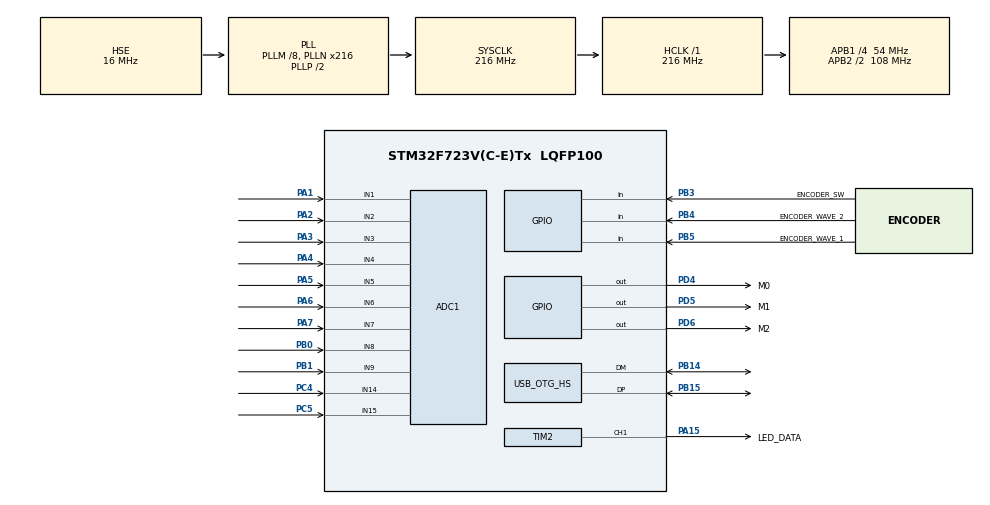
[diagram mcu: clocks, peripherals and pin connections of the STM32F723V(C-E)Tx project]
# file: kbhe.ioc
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ADC1.Channel-0\#ChannelRegularConversion=ADC_CHANNEL_1
ADC1.Channel-1\#ChannelRegularConversion=ADC_CHANNEL_2
ADC1.Channel-10\#ChannelRegularConversion=ADC_CHANNEL_15
ADC1.Channel-2\#ChannelRegularConversion=ADC_CHANNEL_3
ADC1.Channel-3\#ChannelRegularConversion=ADC_CHANNEL_4
ADC1.Channel-4\#ChannelRegularConversion=ADC_CHANNEL_5
ADC1.Channel-5\#ChannelRegularConversion=ADC_CHANNEL_6
ADC1.Channel-6\#ChannelRegularConversion=ADC_CHANNEL_7
ADC1.Channel-7\#ChannelRegularConversion=ADC_CHANNEL_8
ADC1.Channel-8\#ChannelRegularConversion=ADC_CHANNEL_9
ADC1.Channel-9\#ChannelRegularConversion=ADC_CHANNEL_14
ADC1.ContinuousConvMode=DISABLE
ADC1.DMAContinuousRequests=ENABLE
ADC1.EOCSelection=ADC_EOC_SINGLE_CONV
ADC1.ExternalTrigConv=ADC_EXTERNALTRIGCONV_T4_TRGO
ADC1.NbrOfConversion=11
ADC1.NbrOfConversionFlag=1
ADC1.Rank-0\#ChannelRegularConversion=1
ADC1.Rank-1\#ChannelRegularConversion=2
ADC1.Rank-10\#ChannelRegularConversion=11
ADC1.Rank-2\#ChannelRegularConversion=3
ADC1.Rank-3\#ChannelRegularConversion=4
ADC1.Rank-4\#ChannelRegularConversion=5
ADC1.Rank-5\#ChannelRegularConversion=6
ADC1.Rank-6\#ChannelRegularConversion=7
ADC1.Rank-7\#ChannelRegularConversion=8
ADC1.Rank-8\#ChannelRegularConversion=9
ADC1.Rank-9\#ChannelRegularConversion=10
ADC1.SamplingTime-0\#ChannelRegularConversion=ADC_SAMPLETIME_3CYCLES
ADC1.SamplingTime-1\#ChannelRegularConversion=ADC_SAMPLETIME_3CYCLES
ADC1.SamplingTime-10\#ChannelRegularConversion=ADC_SAMPLETIME_3CYCLES
ADC1.SamplingTime-2\#ChannelRegularConversion=ADC_SAMPLETIME_3CYCLES
ADC1.SamplingTime-3\#ChannelRegularConversion=ADC_SAMPLETIME_3CYCLES
ADC1.SamplingTime-4\#ChannelRegularConversion=ADC_SAMPLETIME_3CYCLES
ADC1.SamplingTime-5\#ChannelRegularConversion=ADC_SAMPLETIME_3CYCLES
ADC1.SamplingTime-6\#ChannelRegularConversion=ADC_SAMPLETIME_3CYCLES
ADC1.SamplingTime-7\#ChannelRegularConversion=ADC_SAMPLETIME_3CYCLES
ADC1.SamplingTime-8\#ChannelRegularConversion=ADC_SAMPLETIME_3CYCLES
ADC1.SamplingTime-9\#ChannelRegularConversion=ADC_SAMPLETIME_3CYCLES
ADC1.ScanConvMode=ADC_SCAN_ENABLE
ADC1.master=1
CORTEX_M7.ART_ACCELERATOR_ENABLE=1
CORTEX_M7.AccessPermission_S-Cortex_Memory_Protection_Unit_Region1_Settings_S=MPU_REGION_FULL_ACCESS
CORTEX_M7.AccessPermission_Spec=MPU_REGION_FULL_ACCESS
CORTEX_M7.BaseAddress_Spec=0x20000000
CORTEX_M7.CPU_DCache=Enabled
CORTEX_M7.CPU_ICache=Enabled
CORTEX_M7.DisableExec_Spec=MPU_INSTRUCTION_ACCESS_ENABLE
CORTEX_M7.Enable_S-Cortex_Memory_Protection_Unit_Region1_Settings_S=MPU_REGION_ENABLE
CORTEX_M7.IsShareable_S-Cortex_Memory_Protection_Unit_Region1_Settings_S=MPU_ACCESS_SHAREABLE
CORTEX_M7.MPU_Control=MPU_PRIVILEGED_DEFAULT
CORTEX_M7.PREFETCH_ENABLE=1
CORTEX_M7.Size_S-Cortex_Memory_Protection_Unit_Region1_Settings_S=MPU_REGION_SIZE_128B
CORTEX_M7.Size_Spec=MPU_REGION_SIZE_256B
CORTEX_M7.SubRegionDisable_Spec=0x00
CORTEX_M7.default_mode_Activation=1
Dma.ADC1.0.Direction=DMA_PERIPH_TO_MEMORY
Dma.ADC1.0.FIFOMode=DMA_FIFOMODE_DISABLE
Dma.ADC1.0.Instance=DMA2_Stream0
Dma.ADC1.0.MemDataAlignment=DMA_MDATAALIGN_HALFWORD
Dma.ADC1.0.MemInc=DMA_MINC_ENABLE
Dma.ADC1.0.Mode=DMA_CIRCULAR
Dma.ADC1.0.PeriphDataAlignment=DMA_PDATAALIGN_HALFWORD
Dma.ADC1.0.PeriphInc=DMA_PINC_DISABLE
Dma.ADC1.0.Priority=DMA_PRIORITY_HIGH
Dma.Request0=ADC1
Dma.Request1=TIM2_CH1
Dma.TIM2_CH1.1.Direction=DMA_MEMORY_TO_PERIPH
Dma.TIM2_CH1.1.FIFOMode=DMA_FIFOMODE_DISABLE
Dma.TIM2_CH1.1.Instance=DMA1_Stream5
Dma.TIM2_CH1.1.MemDataAlignment=DMA_MDATAALIGN_WORD
Dma.TIM2_CH1.1.MemInc=DMA_MINC_ENABLE
Dma.TIM2_CH1.1.Mode=DMA_CIRCULAR
Dma.TIM2_CH1.1.PeriphDataAlignment=DMA_PDATAALIGN_WORD
Dma.TIM2_CH1.1.PeriphInc=DMA_PINC_DISABLE
Dma.TIM2_CH1.1.Priority=DMA_PRIORITY_VERY_HIGH
Mcu.Family=STM32F7
Mcu.Name=STM32F723V(C-E)Tx
Mcu.Package=LQFP100
NVIC.ADC_IRQn=true\:0\:0\:false\:false\:true\:true\:true\:true
NVIC.DMA1_Stream5_IRQn=true\:0\:0\:false\:false\:true\:false\:true\:true
NVIC.DMA2_Stream0_IRQn=true\:0\:0\:false\:false\:true\:false\:true\:true
NVIC.OTG_HS_IRQn=true\:0\:0\:false\:false\:true\:true\:true\:true
NVIC.PriorityGroup=NVIC_PRIORITYGROUP_4
PA1.Signal=ADCx_IN1
PA13.Mode=Serial_Wire
PA13.Signal=SYS_JTMS-SWDIO
PA14.Mode=Serial_Wire
PA14.Signal=SYS_JTCK-SWCLK
PA15.GPIO_Label=LED_DATA
PA15.GPIO_Speed=GPIO_SPEED_FREQ_VERY_HIGH
PA15.Signal=S_TIM2_CH1
PA2.Signal=ADCx_IN2
PA3.Signal=ADCx_IN3
PA4.Signal=ADCx_IN4
PA5.Signal=ADCx_IN5
PA6.Signal=ADCx_IN6
PA7.Signal=ADCx_IN7
PB0.Signal=ADCx_IN8
PB1.Signal=ADCx_IN9
PB3.GPIO_Label=ENCODER_SW
PB3.GPIO_PuPd=GPIO_PULLUP
PB3.GPIO_Speed=GPIO_SPEED_FREQ_LOW
PB3.Signal=GPIO_Input
PB4.GPIO_Label=ENCODER_WAVE_2
PB4.GPIO_PuPd=GPIO_PULLUP
PB4.GPIO_Speed=GPIO_SPEED_FREQ_LOW
PB4.Signal=GPIO_Input
PB5.GPIO_Label=ENCODER_WAVE_1
PB5.GPIO_PuPd=GPIO_PULLUP
PB5.GPIO_Speed=GPIO_SPEED_FREQ_LOW
PB5.Signal=GPIO_Input
PB14.Mode=Internal_Phy_Device
PB14.Signal=USB_OTG_HS_DM
PB15.Mode=Internal_Phy_Device
PB15.Signal=USB_OTG_HS_DP
PC4.Signal=ADCx_IN14
PC5.Signal=ADCx_IN15
PD4.GPIO_Label=M0
PD4.GPIO_Speed=GPIO_SPEED_FREQ_VERY_HIGH
PD4.Signal=GPIO_Output
PD5.GPIO_Label=M1
PD5.GPIO_Speed=GPIO_SPEED_FREQ_VERY_HIGH
PD5.Signal=GPIO_Output
PD6.GPIO_Label=M2
PD6.GPIO_Speed=GPIO_SPEED_FREQ_VERY_HIGH
PD6.Signal=GPIO_Output
PH0-OSC_IN.Mode=HSE-External-Oscillator
PH0-OSC_IN.Signal=RCC_OSC_IN
PH1-OSC_OUT.Mode=HSE-External-Oscillator
PH1-OSC_OUT.Signal=RCC_OSC_OUT
ProjectManager.HeapSize=0x200
ProjectManager.StackSize=0x400
ProjectManager.TargetToolchain=CMake
RCC.AHBFreq_Value=216000000
RCC.APB1CLKDivider=RCC_HCLK_DIV4
RCC.APB1Freq_Value=54000000
RCC.APB1TimFreq_Value=108000000
RCC.APB2CLKDivider=RCC_HCLK_DIV2
RCC.APB2Freq_Value=108000000
RCC.APB2TimFreq_Value=216000000
RCC.CortexFreq_Value=216000000
RCC.HCLKFreq_Value=216000000
RCC.HSE_VALUE=16000000
RCC.HSI_VALUE=16000000
RCC.LSE_VALUE=32768
RCC.PLLM=8
RCC.PLLN=216
RCC.PLLQ=9
RCC.SYSCLKFreq_VALUE=216000000
RCC.SYSCLKSource=RCC_SYSCLKSOURCE_PLLCLK
RCC.USBFreq_Value=48000000
RCC.VCOOutputFreq_Value=432000000
REXTPHYHS.Mode=Internal_Phy_Device
REXTPHYHS.Signal=USB_OTG_HS_REXTPHYHS
SH.ADCx_IN1.0=ADC1_IN1,IN1
SH.ADCx_IN14.0=ADC1_IN14,IN14
SH.ADCx_IN15.0=ADC1_IN15,IN15
SH.ADCx_IN2.0=ADC1_IN2,IN2
SH.ADCx_IN3.0=ADC1_IN3,IN3
SH.ADCx_IN4.0=ADC1_IN4,IN4
SH.ADCx_IN5.0=ADC1_IN5,IN5
SH.ADCx_IN6.0=ADC1_IN6,IN6
SH.ADCx_IN7.0=ADC1_IN7,IN7
SH.ADCx_IN8.0=ADC1_IN8,IN8
SH.ADCx_IN9.0=ADC1_IN9,IN9
SH.S_TIM2_CH1.0=TIM2_CH1,PWM Generation1 CH1
TIM2.AutoReloadPreload=TIM_AUTORELOAD_PRELOAD_ENABLE
TIM2.Channel-PWM\ Generation1\ CH1=TIM_CHANNEL_1
TIM2.Period=134
TIM4.AutoReloadPreload=TIM_AUTORELOAD_PRELOAD_ENABLE
TIM4.Period=53
TIM4.Prescaler=0
TIM4.TIM_MasterOutputTrigger=TIM_TRGO_UPDATE
USB_OTG_HS.VirtualMode=Int_Phy_Device
VP_TIM2_VS_ClockSourceINT.Mode=Internal
VP_TIM4_VS_ClockSourceINT.Mode=Internal
VP_TIM4_VS_OPM.Mode=OPM_bit
board=custom

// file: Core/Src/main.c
/* USER CODE BEGIN Header */
/**
 ******************************************************************************
 * @file           : main.c
 * @brief          : Main program body
 ******************************************************************************
 * @attention
 *
 * Copyright (c) 2025 STMicroelectronics.
 * All rights reserved.
 *
 * This software is licensed under terms that can be found in the LICENSE file
 * in the root directory of this software component.
 * If no LICENSE file comes with this software, it is provided AS-IS.
 *
 ******************************************************************************
 */
/* USER CODE END Header */
#include "main.h"

/* USER CODE BEGIN Includes */
#include "analog/multiplexer.h"
#include "analog/lut.h"
#include "analog/analog.h"
#include "analog/filter.h"
#include "analog/calibration.h"
#include "analog/internal_sensor_sampler.h"
#include "analog/scan_watchdog.h"
#include "diagnostics.h"
#include "realtime_scan_policy.h"

#include "settings.h"
#include "profile_document_store.h"
#include "flash_storage.h"

#include "stm32f7xx_hal_gpio.h"
#include "trigger/trigger.h"
#include "trigger/socd.h"

#include "adc_capture.h"
#include "action_engine.h"
// #include "adc_ema.h"
#include "led_indicator.h"
#include "led_matrix.h"
#include "hid/raw_hid.h"
#include "stm32f7xx_hal_adc.h"
// #include "trigger.h"
#include "tusb.h"
#include "updater_app.h"
#include "hid/gamepad_hid.h"
#include "hid/xinput_usb.h"
#include "usb_descriptors.h"
#include "hid/consumer_hid.h"
#include "hid/keyboard_hid.h"
#include "hid/keyboard_nkro_hid.h"
#include "hid/mouse_hid.h"
#include "rotary_encoder.h"
#include "stm32f7xx_ll_adc.h"
#include "ws2812.h" // Include WS2812 header
#include <stdbool.h>
#include <stdint.h>
#include <stdio.h>
#include <sys/cdefs.h>

/* USER CODE END Includes */

/* USER CODE BEGIN PD */
#define KBHE_TIMING_PROFILE_DECIMATION 32u
#define MCU_LED_THERMAL_LIMIT_C 70
#define MCU_LED_THERMAL_HYSTERESIS_C 3
#define MCU_LED_THERMAL_BRIGHTNESS_MAX 96u
/* A write becomes eligible only after input and macro traffic have drained.
 * The STM32F723 has one Flash bank, so even one word can stall instruction
 * fetch. Keeping the write out of this guard window is more important than
 * completing persistence while a key remains held. */
#define KBHE_PERSISTENCE_INPUT_QUIET_MS 4u

/* USER CODE END PD */

ADC_HandleTypeDef hadc1;
DMA_HandleTypeDef hdma_adc1;

TIM_HandleTypeDef htim2;
TIM_HandleTypeDef htim4;
DMA_HandleTypeDef hdma_tim2_ch1;

PCD_HandleTypeDef hpcd_USB_OTG_HS;

/* USER CODE BEGIN PV */
// /**
//  * ADC DMA NUMBER OF CONVERSIONS COMPLETED
//  */
// uint32_t num_conv = 0;

/**
 * LED DMA BUFFER
 */
uint32_t ws2812_dma_buffer[BUFFER_SIZE * 2] __attribute__((aligned(256)));

/**
 * EMA FILTERING - Default values (can be overridden via settings)
 */
// #define ADC_EMA_NOISE_BAND_DEFAULT 30u
// #define ADC_EMA_ALPHA_MIN_DENOM_DEFAULT 32u
// #define ADC_EMA_ALPHA_MAX_DENOM_DEFAULT 4u

// // Runtime filter parameters
// static uint8_t filter_enabled = 1;
// static uint8_t filter_noise_band = ADC_EMA_NOISE_BAND_DEFAULT;
// static uint8_t filter_alpha_min_denom = ADC_EMA_ALPHA_MIN_DENOM_DEFAULT;
// static uint8_t filter_alpha_max_denom = ADC_EMA_ALPHA_MAX_DENOM_DEFAULT;

// /**
//  * MUX CONFIGURATION
//  */
// /**
//  * NUMBER OF CHANNELS PER MUX AND NUMBER OF MULTIPLEXERS
//  */
// #define NUM_MUX_CHANNELS 13
// #define NUM_MUX 8

// /**
//  * CURRENT MUX CHANNEL
//  */
// uint16_t mux_channel = 0;

/**
 * ADC DMA BUFFER
 */
// Déclarer un buffer de 128 valeurs de type uint16_t (2 octets chacune) soit
// 256 octets
// #define ADC_BUFFER_LENGTH 128
// uint16_t adc_buffer[ADC_BUFFER_LENGTH]
//     __attribute__((aligned(ADC_BUFFER_LENGTH * 2)));

// /**
//  * ADC VALUES FOR ALL MUX CHANNELS
//  * Format: [MUX0_CH0, MUX0_CH1, ..., MUX0_CH5, MUX1_CH0, ..., MUX1_CH5]
//  */
// uint16_t adc_values[NUM_MUX * NUM_MUX_CHANNELS];

/**
 * EMA state per logical channel (mux input i, mux_channel).
 */
// static adc_ema_t adc_ema_states[NUM_MUX * NUM_MUX_CHANNELS];

// /**
//  * OVERSAMPLING
//  */

// #define SAMPLE_COUNT 1

// uint16_t adc_samples_index = 0;
// uint16_t adc_samples[NUM_MUX * SAMPLE_COUNT];

/**
 * Timings measurement variables
 */
// Temps entre deux scans complets (incluant loop principale)
uint32_t adc_full_cycle_us = 0;
uint32_t adc_full_cycle_start_cycles = 0;

// Time spent in each processing task after a full ADC scan.
uint32_t task_analog_us = 0;
uint32_t task_trigger_us = 0;
uint32_t task_socd_us = 0;
uint32_t task_keyboard_us = 0;
uint32_t task_keyboard_nkro_us = 0;
uint32_t task_gamepad_us = 0;
uint32_t task_led_us = 0;
uint32_t task_total_us = 0;
uint32_t mcu_scan_cycle_us_live = 0;
uint32_t mcu_scan_cycle_us_max = 0;
uint32_t mcu_scan_deadline_miss_count = 0;
uint32_t mcu_adc_recovery_count = 0;
#define MCU_SCAN_HISTOGRAM_BIN_US 4u
#define MCU_SCAN_HISTOGRAM_BIN_COUNT 256u
static uint64_t mcu_scan_cycle_histogram[MCU_SCAN_HISTOGRAM_BIN_COUNT];
static uint64_t mcu_scan_cycle_sample_count = 0u;
uint32_t mcu_work_us_live = 0;
uint16_t mcu_load_permille_live = 0;
int16_t mcu_temperature_c_live = 0;
uint16_t mcu_vref_mv_live = 0;
uint8_t mcu_temperature_valid_live = 0;
static uint8_t timing_profile_counter = 0u;
static uint32_t mcu_metrics_next_sample_ms = 0u;
static adc_internal_sensor_sampler_t mcu_internal_sensor_sampler;
static bool mcu_led_thermal_limit_active = false;
static uint8_t mcu_led_last_applied_brightness = 0xFFu;

//--------------------------------------------------------------------+
// Filter Management Functions
//--------------------------------------------------------------------+

// /**
//  * @brief Reinitialize all EMA filters with current parameters
//  */
// static void reinit_ema_filters(void) {
//   uint16_t alpha_min = ADC_EMA_Q15_FROM_RATIO(1u, filter_alpha_min_denom);
//   uint16_t alpha_max = ADC_EMA_Q15_FROM_RATIO(1u, filter_alpha_max_denom);

//   for (uint16_t i = 0; i < (uint16_t)(NUM_MUX * NUM_MUX_CHANNELS); i++) {
//     adc_ema_init(&adc_ema_states[i], filter_noise_band, alpha_min, alpha_max);
//   }
// }

// uint8_t get_filter_enabled(void) { return filter_enabled; }

// void set_filter_enabled(uint8_t enabled) { filter_enabled = enabled ? 1 : 0; }

// void get_filter_params(uint8_t *noise_band, uint8_t *alpha_min_denom,
//                        uint8_t *alpha_max_denom) {
//   if (noise_band)
//     *noise_band = filter_noise_band;
//   if (alpha_min_denom)
//     *alpha_min_denom = filter_alpha_min_denom;
//   if (alpha_max_denom)
//     *alpha_max_denom = filter_alpha_max_denom;
// }

// void set_filter_params(uint8_t noise_band, uint8_t alpha_min_denom,
//                        uint8_t alpha_max_denom) {
//   // Validate and clamp parameters
//   filter_noise_band = noise_band > 0 ? noise_band : 1;
//   filter_alpha_min_denom = alpha_min_denom > 0 ? alpha_min_denom : 1;
//   filter_alpha_max_denom = alpha_max_denom > 0 ? alpha_max_denom : 1;

//   // Reinitialize filters with new parameters
//   reinit_ema_filters();
// }

// uint16_t get_filtered_adc_value(uint8_t key) {
//   if (key >= NUM_KEYS) {
//     return 0u;
//   }
//   return adc_values[key];
// }

/* USER CODE END PV */

void SystemClock_Config(void);
static void MPU_Config(void);
static void MX_GPIO_Init(void);
static void MX_DMA_Init(void);
static void MX_ADC1_Init(void);
static void MX_USB_OTG_HS_PCD_Init(void);
static void MX_TIM4_Init(void);
static void MX_TIM2_Init(void);

/* USER CODE BEGIN 0 */

//============================================================================+
// TINYUSB PLATFORM FUNCTIONS
//============================================================================+

/*
 * Fonction requise par TinyUSB pour obtenir le temps en millisecondes
 *
 * TinyUSB utilise cette fonction pour:
 *   - Gérer les timeouts des transactions USB
 *   - Implémenter les délais nécessaires au protocole USB
 *   - Mesurer les intervalles entre les événements
 *
 * On utilise HAL_GetTick() qui est incrémenté dans SysTick_Handler
 */
uint32_t tusb_time_millis_api(void) { return HAL_GetTick(); }

/*
 * Fonction optionnelle pour délai en millisecondes
 * Utilisée pendant l'initialisation USB et pour certains délais de reset
 */
void tusb_time_delay_ms_api(uint32_t ms) { HAL_Delay(ms); }

#if defined(__GNUC__) || defined(__clang__)
#define KBHE_ALWAYS_INLINE __attribute__((always_inline)) static inline
#else
#define KBHE_ALWAYS_INLINE static inline
#endif

// KBHE_ALWAYS_INLINE void GPIO_WriteMasked_BSRR(GPIO_TypeDef *port,
//                                               uint16_t pins_mask,
//                                               uint16_t pins_set) {
//   const uint32_t set = (uint32_t)(pins_set & pins_mask);
//   const uint32_t reset = (uint32_t)((pins_mask & (uint16_t)~pins_set) << 16);
//   port->BSRR = set | reset;
// }

static void DWT_CycleCounter_Init(void) {
  /* Active le compteur de cycles (Cortex-M7) */
  CoreDebug->DEMCR |= CoreDebug_DEMCR_TRCENA_Msk;
  DWT->CYCCNT = 0;
  DWT->CTRL |= DWT_CTRL_CYCCNTENA_Msk;
}

static uint32_t cycles_to_us(uint32_t cycles) {
  uint32_t cycles_per_us = SystemCoreClock / 1000000U;

  if (cycles_per_us == 0U) {
    return 0U;
  }

  return (cycles + (cycles_per_us / 2U)) / cycles_per_us;
}

static uint32_t smooth_u32(uint32_t previous, uint32_t sample) {
  if (previous == 0u) {
    return sample;
  }
  return (uint32_t)(((uint64_t)previous * 7u + sample + 4u) / 8u);
}

static void mcu_refresh_runtime_metrics(uint32_t scan_cycle_us,
                                        uint32_t work_us) {
  mcu_scan_cycle_us_live = smooth_u32(mcu_scan_cycle_us_live, scan_cycle_us);
  mcu_work_us_live = smooth_u32(mcu_work_us_live, work_us);

  if (mcu_scan_cycle_us_live == 0u) {
    mcu_load_permille_live = 0u;
    return;
  }

  uint32_t permille =
      ((uint32_t)mcu_work_us_live * 1000u + (mcu_scan_cycle_us_live / 2u)) /
      mcu_scan_cycle_us_live;
  if (permille > 1000u) {
    permille = 1000u;
  }
  mcu_load_permille_live = (uint16_t)permille;
}

static void mcu_init_injected_sensors(void) {
  ADC_InjectionConfTypeDef sInjectedConfig = {0};

  sInjectedConfig.InjectedOffset = 0u;
  sInjectedConfig.InjectedNbrOfConversion = 2u;
  sInjectedConfig.InjectedDiscontinuousConvMode = DISABLE;
  sInjectedConfig.AutoInjectedConv = DISABLE;
  sInjectedConfig.ExternalTrigInjecConv = ADC_INJECTED_SOFTWARE_START;
  sInjectedConfig.ExternalTrigInjecConvEdge =
      ADC_EXTERNALTRIGINJECCONVEDGE_NONE;
  sInjectedConfig.InjectedSamplingTime = ADC_SAMPLETIME_480CYCLES;

  sInjectedConfig.InjectedChannel = ADC_CHANNEL_VREFINT;
  sInjectedConfig.InjectedRank = ADC_INJECTED_RANK_1;
  if (HAL_ADCEx_InjectedConfigChannel(&hadc1, &sInjectedConfig) != HAL_OK) {
    mcu_temperature_valid_live = 0u;
    return;
  }

  sInjectedConfig.InjectedChannel = ADC_CHANNEL_TEMPSENSOR;
  sInjectedConfig.InjectedRank = ADC_INJECTED_RANK_2;
  if (HAL_ADCEx_InjectedConfigChannel(&hadc1, &sInjectedConfig) != HAL_OK) {
    mcu_temperature_valid_live = 0u;
  }
}

/* Return true when the shared ADC must be recovered.  The regular key scanner
 * owns ADC1 continuously, so the injected VREF/temperature sequence must not
 * use HAL_ADCEx_InjectedPollForConversion(..., 0): on a normal not-yet-ready
 * result that HAL routine assigns HAL_ADC_STATE_TIMEOUT to the whole handle,
 * erasing HAL_ADC_STATE_REG_BUSY.  A following HAL_ADCEx_InjectedStop() then
 * believes no regular conversion is active and disables ADC1 underneath the
 * DMA scanner. Under a light main-loop load this can happen once per thermal
 * sample and leave all keys on a stale snapshot until the watchdog fires.
 *
 * Inspect JEOC without side effects and start the already-configured injected
 * sequence directly.  ADC1 remains enabled and the regular DMA ownership/state
 * is never changed. */
static bool mcu_sample_internal_sensors(uint32_t now_ms) {
  adc_internal_sensor_values_t values = {0};
  adc_internal_sensor_result_t result =
      adc_internal_sensor_sampler_poll(&mcu_internal_sensor_sampler, &hadc1,
                                       now_ms, &values);

  if (result == ADC_INTERNAL_SENSOR_READY) {
    uint32_t vref_raw = values.vref_raw;
    uint32_t temp_raw = values.temperature_raw;

    if (vref_raw == 0u || temp_raw == 0u) {
      mcu_temperature_valid_live = 0u;
      return false;
    }

    uint32_t vref_mv =
        __LL_ADC_CALC_VREFANALOG_VOLTAGE(vref_raw, LL_ADC_RESOLUTION_12B);
    int32_t temperature_c =
        __LL_ADC_CALC_TEMPERATURE(vref_mv, temp_raw, LL_ADC_RESOLUTION_12B);

    mcu_vref_mv_live = (uint16_t)vref_mv;
    mcu_temperature_c_live = (int16_t)temperature_c;
    mcu_temperature_valid_live = 1u;
    return false;
  }
  if (result == ADC_INTERNAL_SENSOR_RECOVERY_REQUIRED) {
    /* A two-channel, 480-cycle injected sequence completes in under 40 us at
     * the configured ADC clock. A 4 ms timeout therefore indicates a shared
     * peripheral fault; recover the complete regular scanner instead of
     * trying to stop one ADC group independently. */
    mcu_temperature_valid_live = 0u;
    return true;
  }
  if (result == ADC_INTERNAL_SENSOR_PENDING) {
    return false;
  }

  if (!diagnostics_is_perf_active() &&
      !settings_is_led_thermal_protection_enabled()) {
    return false;
  }
  if (now_ms < mcu_metrics_next_sample_ms) {
    return false;
  }
  mcu_metrics_next_sample_ms = now_ms + 1000u;

  if (!adc_internal_sensor_sampler_start(&mcu_internal_sensor_sampler, &hadc1,
                                         now_ms)) {
    mcu_temperature_valid_live = 0u;
    return true;
  }
  return false;
}

uint16_t mcu_scan_cycle_p99_us(void) {
  uint64_t target = 0u;
  uint64_t cumulative = 0u;

  if (mcu_scan_cycle_sample_count == 0u) {
    return 0u;
  }
  target = (mcu_scan_cycle_sample_count * 99u + 99u) / 100u;
  for (uint16_t bin = 0u; bin < MCU_SCAN_HISTOGRAM_BIN_COUNT; bin++) {
    cumulative += mcu_scan_cycle_histogram[bin];
    if (cumulative >= target) {
      /* Report the conservative upper edge of the 4 us bucket. */
      return (uint16_t)(bin * MCU_SCAN_HISTOGRAM_BIN_US +
                        (MCU_SCAN_HISTOGRAM_BIN_US - 1u));
    }
  }
  return (uint16_t)(MCU_SCAN_HISTOGRAM_BIN_COUNT *
                        MCU_SCAN_HISTOGRAM_BIN_US -
                    1u);
}

static void mcu_apply_led_thermal_protection(void) {
  uint8_t target_brightness = settings_get_led_brightness();
  bool protection_enabled = settings_is_led_thermal_protection_enabled();
  int16_t clear_threshold =
      (int16_t)(MCU_LED_THERMAL_LIMIT_C - MCU_LED_THERMAL_HYSTERESIS_C);

  if (!protection_enabled) {
    mcu_led_thermal_limit_active = false;
  } else if (mcu_temperature_valid_live != 0u) {
    if (mcu_led_thermal_limit_active) {
      if (mcu_temperature_c_live <= clear_threshold) {
        mcu_led_thermal_limit_active = false;
      }
    } else if (mcu_temperature_c_live > MCU_LED_THERMAL_LIMIT_C) {
      mcu_led_thermal_limit_active = true;
    }
  }

  if (mcu_led_thermal_limit_active &&
      target_brightness > MCU_LED_THERMAL_BRIGHTNESS_MAX) {
    target_brightness = MCU_LED_THERMAL_BRIGHTNESS_MAX;
  }

  if (target_brightness == mcu_led_last_applied_brightness) {
    return;
  }

  led_matrix_set_brightness(target_brightness);
  mcu_led_last_applied_brightness = target_brightness;
}

static void TIM4_StartOneShot_TRGO(void) {
  TIM4->SR = ~TIM_SR_UIF;
  TIM4->CNT = 0;
  TIM4->CR1 |= TIM_CR1_CEN;
}

static bool should_profile_timing_scan(void) {
  if (!diagnostics_is_perf_active()) {
    adc_full_cycle_us = 0u;
    task_analog_us = 0u;
    task_trigger_us = 0u;
    task_socd_us = 0u;
    task_keyboard_us = 0u;
    task_keyboard_nkro_us = 0u;
    task_gamepad_us = 0u;
    task_led_us = 0u;
    task_total_us = 0u;
    timing_profile_counter = 0u;
    return false;
  }

  bool collect_profile = (timing_profile_counter == 0u);

  timing_profile_counter++;
  if (timing_profile_counter >= KBHE_TIMING_PROFILE_DECIMATION) {
    timing_profile_counter = 0u;
  }

  return collect_profile;
}

// /**
//  * Selects the current channel on the multiplexer.
//  */
// static void MUX_SelectChannel(uint8_t channel) {
//   // uint32_t start_cycles = DWT->CYCCNT;
//   /* M0..M3 = bus d'adresse (0..15). On utilise ici 0..NUM_MUX_CHANNELS-1. */
//   if (channel >= (uint8_t)NUM_MUX_CHANNELS) {
//     channel = 0U;
//   }

//   /* Chemin critique: évite HAL_GPIO_WritePin (très coûteux) */
//   if (M0_GPIO_Port == M1_GPIO_Port) {
//     uint16_t pins_set = 0U;
//     if ((channel & 0x01U) != 0U) {
//       pins_set |= M0_Pin;
//     }
//     if ((channel & 0x02U) != 0U) {
//       pins_set |= M1_Pin;
//     }
//     GPIO_WriteMasked_BSRR(M0_GPIO_Port, (uint16_t)(M0_Pin | M1_Pin), pins_set);
//   } else {
//     GPIO_WriteMasked_BSRR(M0_GPIO_Port, M0_Pin,
//                           ((channel & 0x01U) != 0U) ? M0_Pin : 0U);
//     GPIO_WriteMasked_BSRR(M1_GPIO_Port, M1_Pin,
//                           ((channel & 0x02U) != 0U) ? M1_Pin : 0U);
//   }

//   if (M2_GPIO_Port == M3_GPIO_Port) {
//     uint16_t pins_set = 0U;
//     if ((channel & 0x04U) != 0U) {
//       pins_set |= M2_Pin;
//     }
//     if ((channel & 0x08U) != 0U) {
//       pins_set |= M3_Pin;
//     }
//     GPIO_WriteMasked_BSRR(M2_GPIO_Port, (uint16_t)(M2_Pin | M3_Pin), pins_set);
//   } else {
//     GPIO_WriteMasked_BSRR(M2_GPIO_Port, M2_Pin,
//                           ((channel & 0x04U) != 0U) ? M2_Pin : 0U);
//     GPIO_WriteMasked_BSRR(M3_GPIO_Port, M3_Pin,
//                           ((channel & 0x08U) != 0U) ? M3_Pin : 0U);
//   }

//   mux_channel = channel;

//   // uint32_t end_cycles = DWT->CYCCNT;
//   // gpio_switching_us = cycles_to_us(end_cycles - start_cycles);
// }

//============================================================================+
// WS2812 LED DMA CALLBACKS
//============================================================================+

// External reference to the WS2812 handle from led_matrix.c
extern ws2812_handleTypeDef led_ws2812_handle;

// DMA Half Transfer callback - update first half of buffer
void HAL_TIM_PWM_PulseFinishedHalfCpltCallback(TIM_HandleTypeDef *htim) {
  if (htim->Instance == TIM2) {
    ws2812_update_buffer(&led_ws2812_handle, led_ws2812_handle.dma_buffer);
  }
}

// DMA Transfer Complete callback - update second half of buffer
void HAL_TIM_PWM_PulseFinishedCallback(TIM_HandleTypeDef *htim) {
  if (htim->Instance == TIM2) {
    ws2812_update_buffer(&led_ws2812_handle,
                         &led_ws2812_handle.dma_buffer[BUFFER_SIZE]);
  }
}

/* USER CODE END 0 */

int main(void) {

  /* USER CODE BEGIN 1 */
  /**
   * INITIALIZE ADC VALUES ARRAY
   */
  // for (uint16_t i = 0; i < NUM_MUX * NUM_MUX_CHANNELS; i++) {
  //   adc_values[i] = 0;
  // }

  /*
   * INITIALIZE ANALOG MODULE
   */
  AnalogConfig_t analog_config = {
    .hadc = &hadc1
  };

  analog_init(&analog_config);

  uint16_t *adc_buffer = analog_get_adc_buffer_ptr();

  /**
   * INITIALIZE FILTER MODULE
   */
  filter_init();

  /*
   * INITIALIZE CALIBRATION MODULE
   */
  calibration_init();

  // // Initialize EMA state for each logical ADC channel using runtime parameters
  // reinit_ema_filters();
  /* USER CODE END 1 */

  /* MPU Configuration--------------------------------------------------------*/
  MPU_Config();

  /* Enable the CPU Cache */

  /* Enable I-Cache---------------------------------------------------------*/
  SCB_EnableICache();

  /* Enable D-Cache---------------------------------------------------------*/
  SCB_EnableDCache();

  /* MCU Configuration--------------------------------------------------------*/

  /* Reset of all peripherals, Initializes the Flash interface and the Systick.
   */
  HAL_Init();

  /* Configure the system clock */
  SystemClock_Config();

  /* Initialize all configured peripherals */
  MX_GPIO_Init();
  MX_DMA_Init();
  MX_ADC1_Init();
  MX_USB_OTG_HS_PCD_Init();
  MX_TIM4_Init();
  MX_TIM2_Init();
  /* USER CODE BEGIN 2 */

  /*
   * INITIALIZE MULTIPLEXER MODULE
   */
  multiplexer_init();

  /*
   * INITIALIZE TRIGGER MODULE
   */
  trigger_init();

  /*
   * INITIALIZE SOCD MODULE
   */
  socd_init();

  // Affectation du buffer DMA non-cacheable au handle WS2812
  led_ws2812_handle.dma_buffer = ws2812_dma_buffer;

  // Initialize WS2812 LED Matrix (8x8 = 64 LEDs)
  if (!led_matrix_init(&htim2, TIM_CHANNEL_1)) {
    // LED init failed, but continue anyway
  }

  // Initialize keyboard lock-state tracking (used to override the Caps Lock
  // key LED inside the RGB matrix).
  led_indicator_init();

  /*
   * Load/apply persisted settings after HAL, Flash and the LED driver are
   * fully initialized, but before USB enumeration. This lets the USB
   * descriptors reflect the saved gamepad API mode on the next enumeration.
   */
  settings_init();
  /* Action profiles share the flash journal and drive LED overlays, so both
   * settings/flash and the LED matrix must be ready before loading them. */
  action_engine_init();
  (void)action_engine_activate_profile(settings_get_active_profile_index());

  // Initialisation TinyUSB - RHPORT 1 = USB HS avec PHY intégré
  const tusb_rhport_init_t rhport_init = {.role = TUSB_ROLE_DEVICE,
                                          .speed = TUSB_SPEED_HIGH};
  tusb_init(USB_RHPORT_HS, &rhport_init);

  raw_hid_init();
  consumer_hid_init();
  mouse_hid_init();
  gamepad_hid_init();
  gamepad_hid_set_enabled(settings_is_gamepad_enabled());
  gamepad_hid_reload_settings();
  xinput_usb_init();
  diagnostics_init();
  mcu_init_injected_sensors();
  adc_internal_sensor_sampler_init(&mcu_internal_sensor_sampler);

  // triggerInit();

  rotary_encoder_init();

  DWT_CycleCounter_Init();

  multiplexer_select_mux_channel(0U);

  adc_full_cycle_start_cycles = DWT->CYCCNT;
  if (HAL_ADC_Start_DMA(&hadc1, (uint32_t *)adc_buffer, NUM_MUX) != HAL_OK) {
    Error_Handler();
  }
  /* HAL enables the DMA half-transfer IRQ even though this scanner consumes
   * only complete mux rows.  Disable it before arming TIM4: otherwise every
   * row produces an empty ISR in addition to the completion ISR (64 kHz at an
   * 8 kHz full-board scan rate). */
  __HAL_DMA_DISABLE_IT(hadc1.DMA_Handle, DMA_IT_HT);
  TIM4_StartOneShot_TRGO();
  uint32_t adc_last_progress_ms = HAL_GetTick();
  bool adc_recovery_pending = false;
  bool persistence_step_pending = false;

  /* USER CODE END 2 */

  /* Infinite loop */
  /* USER CODE BEGIN WHILE */
  while (1) {
    bool processed_scan = false;
    bool profile_timing = false;
    bool usb_serviced = false;
    uint32_t task_start_cycles = 0;
    uint32_t live_task_start_cycles = 0;
    uint32_t live_scan_cycle_us = 0;

    uint32_t adc_now_ms = HAL_GetTick();
    bool adc_scan_complete = analog_is_scan_complete();
    if (adc_scan_watchdog_should_recover(analog_take_scan_fault(),
                                         adc_scan_complete, adc_now_ms,
                                         adc_last_progress_ms)) {
      adc_recovery_pending = true;
    }
    if (adc_recovery_pending) {
      TIM4->CR1 &= ~TIM_CR1_CEN;
      (void)HAL_ADC_Stop_DMA(&hadc1);
      adc_internal_sensor_sampler_abort(&mcu_internal_sensor_sampler, &hadc1);
      analog_reset_scan_state();
      if (HAL_ADC_Start_DMA(&hadc1, (uint32_t *)adc_buffer, NUM_MUX) == HAL_OK) {
        /* HAL_ADC_Start_DMA() re-enables both transfer callbacks. */
        __HAL_DMA_DISABLE_IT(hadc1.DMA_Handle, DMA_IT_HT);
        if (mcu_adc_recovery_count < UINT32_MAX) {
          mcu_adc_recovery_count++;
        }
        adc_full_cycle_start_cycles = DWT->CYCCNT;
        adc_last_progress_ms = adc_now_ms;
        adc_recovery_pending = false;
        TIM4_StartOneShot_TRGO();
      }
    }

    // If a full ADC scan is complete, process keys and restart
    if (kbhe_realtime_first_service(analog_is_scan_complete()) ==
        KBHE_REALTIME_SERVICE_ADC) {
      uint32_t now = DWT->CYCCNT;
      live_scan_cycle_us = cycles_to_us(now - adc_full_cycle_start_cycles);
      {
        uint32_t histogram_bin =
            live_scan_cycle_us / MCU_SCAN_HISTOGRAM_BIN_US;
        if (histogram_bin >= MCU_SCAN_HISTOGRAM_BIN_COUNT) {
          histogram_bin = MCU_SCAN_HISTOGRAM_BIN_COUNT - 1u;
        }
        mcu_scan_cycle_histogram[histogram_bin]++;
        mcu_scan_cycle_sample_count++;
      }
      if (live_scan_cycle_us > mcu_scan_cycle_us_max) {
        mcu_scan_cycle_us_max = live_scan_cycle_us;
      }
      if (live_scan_cycle_us >= KBHE_SCAN_DEADLINE_US) {
        mcu_scan_deadline_miss_count++;
      }
      profile_timing = should_profile_timing_scan();
      live_task_start_cycles = now;
      if (profile_timing) {
        adc_full_cycle_us = live_scan_cycle_us;
        task_start_cycles = now;
      }
      adc_full_cycle_start_cycles = now;
      processed_scan = true;

      if (profile_timing) {
        uint32_t step_start_cycles = DWT->CYCCNT;
        analog_task();
        task_analog_us = cycles_to_us(DWT->CYCCNT - step_start_cycles);
      } else {
        analog_task();
      }

      /* `analog_task()` consumes the just-published DMA buffer. Once guided
       * calibration has observed the same immutable scan, release the scan
       * flag and start the next acquisition before the CPU-only trigger/HID
       * work. The new ~53 us acquisition can then overlap that work. Nothing
       * below this point may clear scan_complete: the DMA ISR may publish the
       * next scan while those tasks are still running. */
      calibration_guided_on_scan(HAL_GetTick());
      analog_set_scan_complete(false);
      TIM4_StartOneShot_TRGO();
      adc_last_progress_ms = HAL_GetTick();

      if (profile_timing) {
        uint32_t step_start_cycles = DWT->CYCCNT;
        trigger_task();
        task_trigger_us = cycles_to_us(DWT->CYCCNT - step_start_cycles);

        step_start_cycles = DWT->CYCCNT;
        socd_task();
        task_socd_us = cycles_to_us(DWT->CYCCNT - step_start_cycles);

        action_engine_tick(HAL_GetTick());
      } else {
        trigger_task();
        socd_task();
        action_engine_tick(HAL_GetTick());
      }

      /* The immutable ADC snapshot has been consumed, the next DMA scan is
       * already armed, and its actions are resolved. Drain endpoint completion
       * events now so the HID tasks below can submit their next report in this
       * same 125 us window instead of falling to an effective 4 kHz cadence. */
      tud_task();
      usb_serviced = true;

      if (profile_timing) {
        uint32_t step_start_cycles = DWT->CYCCNT;
        keyboard_hid_task();
        task_keyboard_us = cycles_to_us(DWT->CYCCNT - step_start_cycles);

        step_start_cycles = DWT->CYCCNT;
        keyboard_nkro_hid_task();
        task_keyboard_nkro_us = cycles_to_us(DWT->CYCCNT - step_start_cycles);

        step_start_cycles = DWT->CYCCNT;
        gamepad_hid_refresh_state();
        gamepad_hid_task();
        xinput_usb_task();
        task_gamepad_us = cycles_to_us(DWT->CYCCNT - step_start_cycles);
      } else {
        keyboard_hid_task();
        keyboard_nkro_hid_task();
        gamepad_hid_refresh_state();
        gamepad_hid_task();
        xinput_usb_task();
      }

      /* Grant one CRC/program budget unit per completed scan, but spend it
       * in the best-effort section below.  A single Flash word program can
       * stall the core for FLASH_STORAGE_WORD_PROGRAM_DATASHEET_MAX_US
       * (100 us), i.e. most of a 125 us scan period, and on this single-bank
       * STM32F723 that stall also blocks instruction fetch for the ISRs.
       * Running it here pushed every later service past the next completed
       * scan for the whole duration of a save. */
      if (!persistence_step_pending) {
        persistence_step_pending = true;
      }
    }

    /* When no ADC snapshot was ready, USB is still serviced once this loop.
     * tud_task() drains until empty and exposes no event-count budget; it cannot
     * be preempted without patching TinyUSB. The explicit 16-event queue limits
     * queued backlog, and the post-call ADC check suppresses every lower-
     * priority service if a scan arrived meanwhile. Existing 125 us deadline
     * telemetry characterizes the residual latency. */
    if (!usb_serviced) {
      tud_task();
    }
    bool best_effort_allowed =
        kbhe_realtime_after_usb(analog_is_scan_complete()) ==
        KBHE_REALTIME_SERVICE_BEST_EFFORT;

    /* Input has strict priority over the remaining best-effort control
     * work. Check the DMA completion flag between bounded services so a
     * host command burst can never build an unbounded queue in front of a
     * completed scan.  tud_task() is deliberately absent here: it is
     * serviced unconditionally above. */
    if (best_effort_allowed && !analog_is_scan_complete()) {
      raw_hid_task();
    }
    /* Consumer pulses are queued transactionally; mouse relative pulses are
     * queued while its button bitmap is resynchronised as state. Both tasks
     * are bounded and no-op when nothing changed. */
    if (best_effort_allowed && !analog_is_scan_complete()) {
      consumer_hid_task();
      mouse_hid_task();
    }
    if (best_effort_allowed && !analog_is_scan_complete()) {
      updater_app_task();
    }

    /* Apply settings immediately in RAM, but advance their durable journal
     * only after physical input, macros, and keyboard transports are quiet.
     * There is deliberately no timeout that can force a Flash stall back into
     * an active key path; a continuously held key simply defers persistence. */
    if (best_effort_allowed && persistence_step_pending &&
        !analog_is_scan_complete() &&
        trigger_is_input_idle(HAL_GetTick(),
                              KBHE_PERSISTENCE_INPUT_QUIET_MS) &&
        action_engine_is_idle() && keyboard_hid_is_transport_idle() &&
        keyboard_nkro_hid_is_transport_idle()) {
      flash_storage_metrics_t persistence_before = {0};
      flash_storage_metrics_t persistence_after_profile = {0};

      persistence_step_pending = false;
      flash_storage_get_metrics(&persistence_before);
      profile_document_store_async_task(32u, 1u);
      action_store_async_task();
      flash_storage_get_metrics(&persistence_after_profile);
      settings_task_budgeted(HAL_GetTick(),
                             persistence_after_profile.async_steps ==
                                     persistence_before.async_steps
                                 ? 1u
                                 : 0u);
    }

    // LED/UI timing should not depend on ADC scan state. The scan completes so
    // quickly on the 82-key board that gating animation updates behind the
    // "no scan complete" branch effectively starves LED effects.
    uint32_t now_ms = HAL_GetTick();
    if (best_effort_allowed && !analog_is_scan_complete()) {
      if (mcu_sample_internal_sensors(now_ms)) {
        adc_recovery_pending = true;
      }
    }
    uint32_t led_start_cycles = 0u;
    if (profile_timing) {
      led_start_cycles = DWT->CYCCNT;
    }
    if (best_effort_allowed && !analog_is_scan_complete()) {
      calibration_guided_tick(now_ms);
    }
    /* Polled quadrature decoder: a skipped poll can turn a valid Gray-code
     * edge into a two-bit jump, which discards the accumulated detent. It
     * early-exits when neither the A/B lines nor the button changed. */
    if (best_effort_allowed && !analog_is_scan_complete()) {
      rotary_encoder_task(now_ms);
    }
    if (best_effort_allowed && !analog_is_scan_complete()) {
      led_matrix_effect_tick(now_ms);
    }
    if (best_effort_allowed && !analog_is_scan_complete()) {
      led_indicator_tick(now_ms);
    }
    if (best_effort_allowed && !analog_is_scan_complete()) {
      mcu_apply_led_thermal_protection();
    }
    if (profile_timing) {
      task_led_us = cycles_to_us(DWT->CYCCNT - led_start_cycles);
    }

    if (processed_scan && profile_timing) {
      task_total_us = cycles_to_us(DWT->CYCCNT - task_start_cycles);
    }
    if (processed_scan && diagnostics_is_perf_active()) {
      uint32_t live_work_us = cycles_to_us(DWT->CYCCNT - live_task_start_cycles);
      mcu_refresh_runtime_metrics(live_scan_cycle_us, live_work_us);
    }
    /* USER CODE END WHILE */

  }
}

void SystemClock_Config(void) {
  RCC_OscInitTypeDef RCC_OscInitStruct = {0};
  RCC_ClkInitTypeDef RCC_ClkInitStruct = {0};

  /** Configure the main internal regulator output voltage
   */
  __HAL_RCC_PWR_CLK_ENABLE();
  __HAL_PWR_VOLTAGESCALING_CONFIG(PWR_REGULATOR_VOLTAGE_SCALE1);

  /** Initializes the RCC Oscillators according to the specified parameters
   * in the RCC_OscInitTypeDef structure.
   */
  RCC_OscInitStruct.OscillatorType = RCC_OSCILLATORTYPE_HSE;
  RCC_OscInitStruct.HSEState = RCC_HSE_ON;
  RCC_OscInitStruct.PLL.PLLState = RCC_PLL_ON;
  RCC_OscInitStruct.PLL.PLLSource = RCC_PLLSOURCE_HSE;
  RCC_OscInitStruct.PLL.PLLM = 8;
  RCC_OscInitStruct.PLL.PLLN = 216;
  RCC_OscInitStruct.PLL.PLLP = RCC_PLLP_DIV2;
  RCC_OscInitStruct.PLL.PLLQ = 9;
  if (HAL_RCC_OscConfig(&RCC_OscInitStruct) != HAL_OK) {
    Error_Handler();
  }

  /** Activate the Over-Drive mode
   */
  if (HAL_PWREx_EnableOverDrive() != HAL_OK) {
    Error_Handler();
  }

  /** Initializes the CPU, AHB and APB buses clocks
   */
  RCC_ClkInitStruct.ClockType = RCC_CLOCKTYPE_HCLK | RCC_CLOCKTYPE_SYSCLK |
                                RCC_CLOCKTYPE_PCLK1 | RCC_CLOCKTYPE_PCLK2;
  RCC_ClkInitStruct.SYSCLKSource = RCC_SYSCLKSOURCE_PLLCLK;
  RCC_ClkInitStruct.AHBCLKDivider = RCC_SYSCLK_DIV1;
  RCC_ClkInitStruct.APB1CLKDivider = RCC_HCLK_DIV4;
  RCC_ClkInitStruct.APB2CLKDivider = RCC_HCLK_DIV2;

  if (HAL_RCC_ClockConfig(&RCC_ClkInitStruct, FLASH_LATENCY_7) != HAL_OK) {
    Error_Handler();
  }
}

static void MX_ADC1_Init(void) {

  ADC_ChannelConfTypeDef sConfig = {0};

  /** Configure the global features of the ADC (Clock, Resolution, Data
   * Alignment and number of conversion)
   */
  hadc1.Instance = ADC1;
  hadc1.Init.ClockPrescaler = ADC_CLOCK_SYNC_PCLK_DIV4;
  hadc1.Init.Resolution = ADC_RESOLUTION_12B;
  hadc1.Init.ScanConvMode = ADC_SCAN_ENABLE;
  hadc1.Init.ContinuousConvMode = DISABLE;
  hadc1.Init.DiscontinuousConvMode = DISABLE;
  hadc1.Init.ExternalTrigConvEdge = ADC_EXTERNALTRIGCONVEDGE_RISING;
  hadc1.Init.ExternalTrigConv = ADC_EXTERNALTRIGCONV_T4_TRGO;
  hadc1.Init.DataAlign = ADC_DATAALIGN_RIGHT;
  hadc1.Init.NbrOfConversion = 11;
  hadc1.Init.DMAContinuousRequests = ENABLE;
  hadc1.Init.EOCSelection = ADC_EOC_SINGLE_CONV;
  if (HAL_ADC_Init(&hadc1) != HAL_OK) {
    Error_Handler();
  }

  /** Configure for the selected ADC regular channel its corresponding rank in
   * the sequencer and its sample time.
   */
  sConfig.SamplingTime = ADC_SAMPLETIME_3CYCLES;

  sConfig.Channel = ADC_CHANNEL_1;
  sConfig.Rank = ADC_REGULAR_RANK_1;
  if (HAL_ADC_ConfigChannel(&hadc1, &sConfig) != HAL_OK) {
    Error_Handler();
  }

  sConfig.Channel = ADC_CHANNEL_2;
  sConfig.Rank = ADC_REGULAR_RANK_2;
  if (HAL_ADC_ConfigChannel(&hadc1, &sConfig) != HAL_OK) {
    Error_Handler();
  }

  /** Configure for the selected ADC regular channel its corresponding rank in
   * the sequencer and its sample time.
   */
  sConfig.Channel = ADC_CHANNEL_3;
  sConfig.Rank = ADC_REGULAR_RANK_3;
  if (HAL_ADC_ConfigChannel(&hadc1, &sConfig) != HAL_OK) {
    Error_Handler();
  }

  /** Configure for the selected ADC regular channel its corresponding rank in
   * the sequencer and its sample time.
   */
  sConfig.Channel = ADC_CHANNEL_4;
  sConfig.Rank = ADC_REGULAR_RANK_4;
  if (HAL_ADC_ConfigChannel(&hadc1, &sConfig) != HAL_OK) {
    Error_Handler();
  }

  /** Configure for the selected ADC regular channel its corresponding rank in
   * the sequencer and its sample time.
   */
  sConfig.Channel = ADC_CHANNEL_5;
  sConfig.Rank = ADC_REGULAR_RANK_5;
  if (HAL_ADC_ConfigChannel(&hadc1, &sConfig) != HAL_OK) {
    Error_Handler();
  }

  /** Configure for the selected ADC regular channel its corresponding rank in
   * the sequencer and its sample time.
   */
  sConfig.Channel = ADC_CHANNEL_6;
  sConfig.Rank = ADC_REGULAR_RANK_6;
  if (HAL_ADC_ConfigChannel(&hadc1, &sConfig) != HAL_OK) {
    Error_Handler();
  }

  /** Configure for the selected ADC regular channel its corresponding rank in
   * the sequencer and its sample time.
   */
  sConfig.Channel = ADC_CHANNEL_7;
  sConfig.Rank = ADC_REGULAR_RANK_7;
  if (HAL_ADC_ConfigChannel(&hadc1, &sConfig) != HAL_OK) {
    Error_Handler();
  }

  /** Configure for the selected ADC regular channel its corresponding rank in
   * the sequencer and its sample time.
   */
  sConfig.Channel = ADC_CHANNEL_8;
  sConfig.Rank = ADC_REGULAR_RANK_8;
  if (HAL_ADC_ConfigChannel(&hadc1, &sConfig) != HAL_OK) {
    Error_Handler();
  }

  /** Configure for the selected ADC regular channel its corresponding rank in
   * the sequencer and its sample time.
   */
  sConfig.Channel = ADC_CHANNEL_9;
  sConfig.Rank = ADC_REGULAR_RANK_9;
  if (HAL_ADC_ConfigChannel(&hadc1, &sConfig) != HAL_OK) {
    Error_Handler();
  }

  /** Configure for the selected ADC regular channel its corresponding rank in
   * the sequencer and its sample time.
   */
  sConfig.Channel = ADC_CHANNEL_14;
  sConfig.Rank = ADC_REGULAR_RANK_10;
  if (HAL_ADC_ConfigChannel(&hadc1, &sConfig) != HAL_OK) {
    Error_Handler();
  }

  sConfig.Channel = ADC_CHANNEL_15;
  sConfig.Rank = ADC_REGULAR_RANK_11;
  if (HAL_ADC_ConfigChannel(&hadc1, &sConfig) != HAL_OK) {
    Error_Handler();
  }

}

static void MX_TIM2_Init(void) {

  TIM_ClockConfigTypeDef sClockSourceConfig = {0};
  TIM_MasterConfigTypeDef sMasterConfig = {0};
  TIM_OC_InitTypeDef sConfigOC = {0};

  htim2.Instance = TIM2;
  htim2.Init.Prescaler = 0;
  htim2.Init.CounterMode = TIM_COUNTERMODE_UP;
  htim2.Init.Period = 134;
  htim2.Init.ClockDivision = TIM_CLOCKDIVISION_DIV1;
  htim2.Init.AutoReloadPreload = TIM_AUTORELOAD_PRELOAD_ENABLE;
  if (HAL_TIM_Base_Init(&htim2) != HAL_OK) {
    Error_Handler();
  }
  sClockSourceConfig.ClockSource = TIM_CLOCKSOURCE_INTERNAL;
  if (HAL_TIM_ConfigClockSource(&htim2, &sClockSourceConfig) != HAL_OK) {
    Error_Handler();
  }
  if (HAL_TIM_PWM_Init(&htim2) != HAL_OK) {
    Error_Handler();
  }
  sMasterConfig.MasterOutputTrigger = TIM_TRGO_RESET;
  sMasterConfig.MasterSlaveMode = TIM_MASTERSLAVEMODE_DISABLE;
  if (HAL_TIMEx_MasterConfigSynchronization(&htim2, &sMasterConfig) != HAL_OK) {
    Error_Handler();
  }
  sConfigOC.OCMode = TIM_OCMODE_PWM1;
  sConfigOC.Pulse = 0;
  sConfigOC.OCPolarity = TIM_OCPOLARITY_HIGH;
  sConfigOC.OCFastMode = TIM_OCFAST_DISABLE;
  if (HAL_TIM_PWM_ConfigChannel(&htim2, &sConfigOC, TIM_CHANNEL_1) != HAL_OK) {
    Error_Handler();
  }
  HAL_TIM_MspPostInit(&htim2);
}

static void MX_TIM4_Init(void) {

  TIM_ClockConfigTypeDef sClockSourceConfig = {0};
  TIM_MasterConfigTypeDef sMasterConfig = {0};

  htim4.Instance = TIM4;
  htim4.Init.Prescaler = 0;
  htim4.Init.CounterMode = TIM_COUNTERMODE_UP;
  htim4.Init.Period = 53;
  htim4.Init.ClockDivision = TIM_CLOCKDIVISION_DIV1;
  htim4.Init.AutoReloadPreload = TIM_AUTORELOAD_PRELOAD_ENABLE;
  if (HAL_TIM_Base_Init(&htim4) != HAL_OK) {
    Error_Handler();
  }
  sClockSourceConfig.ClockSource = TIM_CLOCKSOURCE_INTERNAL;
  if (HAL_TIM_ConfigClockSource(&htim4, &sClockSourceConfig) != HAL_OK) {
    Error_Handler();
  }
  if (HAL_TIM_OnePulse_Init(&htim4, TIM_OPMODE_SINGLE) != HAL_OK) {
    Error_Handler();
  }
  sMasterConfig.MasterOutputTrigger = TIM_TRGO_UPDATE;
  sMasterConfig.MasterSlaveMode = TIM_MASTERSLAVEMODE_DISABLE;
  if (HAL_TIMEx_MasterConfigSynchronization(&htim4, &sMasterConfig) != HAL_OK) {
    Error_Handler();
  }
}

static void MX_USB_OTG_HS_PCD_Init(void) {

  /* USER CODE BEGIN USB_OTG_HS_Init 1 */
  GPIO_InitTypeDef GPIO_InitStruct = {0};

  /*
   * ==========================================================================
   * Configuration minimale pour TinyUSB - il fait le reste!
   * ==========================================================================
   */

  // 1. Activer les clocks
  __HAL_RCC_GPIOB_CLK_ENABLE();
  __HAL_RCC_OTGPHYC_CLK_ENABLE(); // Clock du PHY HS intégré
  __HAL_RCC_USB_OTG_HS_CLK_ENABLE();
  __HAL_RCC_USB_OTG_HS_ULPI_CLK_ENABLE(); // Requis pour core reset même avec
                                          // PHY intégré!

  // Désactiver ULPI en mode Low-Power
#if defined(RCC_AHB1LPENR_OTGHSULPILPEN)
  RCC->AHB1LPENR &= ~RCC_AHB1LPENR_OTGHSULPILPEN;
#endif

  // 2. Configurer les GPIOs USB HS (PB14=DM, PB15=DP)
  GPIO_InitStruct.Pin = GPIO_PIN_14 | GPIO_PIN_15;
  GPIO_InitStruct.Mode = GPIO_MODE_AF_PP;
  GPIO_InitStruct.Pull = GPIO_NOPULL;
  GPIO_InitStruct.Speed = GPIO_SPEED_FREQ_VERY_HIGH;
  GPIO_InitStruct.Alternate = GPIO_AF12_OTG_HS_FS;
  HAL_GPIO_Init(GPIOB, &GPIO_InitStruct);

  // 3. Configurer les interruptions
  HAL_NVIC_SetPriority(OTG_HS_IRQn, KBHE_NVIC_PRIORITY_USB, 0);
  HAL_NVIC_EnableIRQ(OTG_HS_IRQn);

  // TinyUSB fera le reste via tusb_init() et dwc2_phy_init()
  return;
  /* USER CODE END USB_OTG_HS_Init 1 */
  hpcd_USB_OTG_HS.Instance = USB_OTG_HS;
  hpcd_USB_OTG_HS.Init.dev_endpoints = 9;
  hpcd_USB_OTG_HS.Init.dma_enable = DISABLE;
  hpcd_USB_OTG_HS.Init.phy_itface = USB_OTG_HS_EMBEDDED_PHY;
  hpcd_USB_OTG_HS.Init.Sof_enable = DISABLE;
  hpcd_USB_OTG_HS.Init.low_power_enable = DISABLE;
  hpcd_USB_OTG_HS.Init.lpm_enable = DISABLE;
  hpcd_USB_OTG_HS.Init.vbus_sensing_enable = DISABLE;
  hpcd_USB_OTG_HS.Init.use_dedicated_ep1 = DISABLE;
  hpcd_USB_OTG_HS.Init.use_external_vbus = DISABLE;
  if (HAL_PCD_Init(&hpcd_USB_OTG_HS) != HAL_OK) {
    Error_Handler();
  }
}

static void MX_DMA_Init(void) {

  /* DMA controller clock enable */
  __HAL_RCC_DMA2_CLK_ENABLE();
  __HAL_RCC_DMA1_CLK_ENABLE();

  /* DMA interrupt init */
  /* DMA1_Stream5_IRQn interrupt configuration */
  HAL_NVIC_SetPriority(DMA1_Stream5_IRQn, KBHE_NVIC_PRIORITY_LED_DMA, 0);
  HAL_NVIC_EnableIRQ(DMA1_Stream5_IRQn);
  /* DMA2_Stream0_IRQn interrupt configuration */
  HAL_NVIC_SetPriority(DMA2_Stream0_IRQn, KBHE_NVIC_PRIORITY_INPUT, 0);
  HAL_NVIC_EnableIRQ(DMA2_Stream0_IRQn);
}

static void MX_GPIO_Init(void) {
  GPIO_InitTypeDef GPIO_InitStruct = {0};

  /* GPIO Ports Clock Enable */
  __HAL_RCC_GPIOH_CLK_ENABLE();
  __HAL_RCC_GPIOC_CLK_ENABLE();
  __HAL_RCC_GPIOA_CLK_ENABLE();
  __HAL_RCC_GPIOB_CLK_ENABLE();
  __HAL_RCC_GPIOD_CLK_ENABLE();

  /*Configure GPIO pin Output Level */
  /*Configure GPIO pin Output Level */
  HAL_GPIO_WritePin(M0_GPIO_Port, M0_Pin | M1_Pin | M2_Pin, GPIO_PIN_RESET);

  // /*Configure GPIO pins : M3_Pin M2_Pin */
  // GPIO_InitStruct.Pin = M3_Pin | M2_Pin;
  // GPIO_InitStruct.Mode = GPIO_MODE_OUTPUT_PP;
  // GPIO_InitStruct.Pull = GPIO_NOPULL;
  // GPIO_InitStruct.Speed = GPIO_SPEED_FREQ_VERY_HIGH;
  // HAL_GPIO_Init(GPIOC, &GPIO_InitStruct);

  /*Configure GPIO pins : M2_Pin M1_Pin M0_Pin */
  GPIO_InitStruct.Pin = M0_Pin | M1_Pin | M2_Pin;
  GPIO_InitStruct.Mode = GPIO_MODE_OUTPUT_PP;
  GPIO_InitStruct.Pull = GPIO_NOPULL;
  GPIO_InitStruct.Speed = GPIO_SPEED_FREQ_VERY_HIGH;
  HAL_GPIO_Init(M0_GPIO_Port, &GPIO_InitStruct);

  /*Configure GPIO pins : ENCODER_SW_Pin ENCODER_WAVE_1_Pin ENCODER_WAVE_2_Pin */
  GPIO_InitStruct.Pin = ENCODER_SW_Pin | ENCODER_WAVE_1_Pin | ENCODER_WAVE_2_Pin;
  GPIO_InitStruct.Mode = GPIO_MODE_INPUT;
  GPIO_InitStruct.Pull = GPIO_PULLUP;
  GPIO_InitStruct.Speed = GPIO_SPEED_FREQ_LOW;
  HAL_GPIO_Init(GPIOB, &GPIO_InitStruct);

}

/* USER CODE BEGIN 4 */
// void HAL_ADC_ConvCpltCallback(ADC_HandleTypeDef *hadc) {
//   /**
//    * When an ADC burst is complete, store the values and switch to the next MUX
//    * channel
//    */
//   if (hadc->Instance == ADC1) {
//     adc_callback_start_cycles = DWT->CYCCNT;

//     // Increment number of conversions completed
//     num_conv++;

//     // Store ADC values for all MUX
//     for (uint8_t i = 0; i < NUM_MUX; i++) {
//       /**
//        * MUX0_CH0, MUX0_CH1, ..., MUX0_CH13, MUX1_CH0, ..., MUX7_CH13
//        */
//       uint16_t new_adc_value = adc_buffer[i];

//       uint16_t logical_index = (uint16_t)(mux_channel + (i * NUM_MUX_CHANNELS));

//       // Store raw value
//       adc_values_raw[logical_index] = new_adc_value;
//     }

//     // Increment MUX channel
//     mux_channel++;

//     // If all channels have been read, reset to channel 0
//     if (mux_channel >= NUM_MUX_CHANNELS) {
//       mux_channel = 0U;

//       // Signal that a full scan is complete - let main loop restart
//       adc_scan_complete = 1;
//       return; // Don't restart timer here, let main loop do it
//     }

//     // Select next MUX channel
//     MUX_SelectChannel(mux_channel);

//     // Start 0.5us timer to wait for MUX settling time then trigger ADC
//     // Only restart immediately - the main loop will have time between full
//     // scans because the DMA priority is lower than USB
//     TIM4_StartOneShot_TRGO();

//     adc_callback_end_cycles = DWT->CYCCNT;
//     adc_callback_us =
//         cycles_to_us(adc_callback_end_cycles - adc_callback_start_cycles);
//   }
// }

/* USER CODE END 4 */

/* MPU Configuration */

void MPU_Config(void) {
  MPU_Region_InitTypeDef MPU_InitStruct = {0};

  /* Disables the MPU */
  HAL_MPU_Disable();

  /** Initializes and configures the Region and the memory to be protected
   */
  MPU_InitStruct.Enable = MPU_REGION_ENABLE;
  MPU_InitStruct.Number = MPU_REGION_NUMBER0;
  MPU_InitStruct.BaseAddress = (uint32_t)(uintptr_t)analog_get_adc_buffer_ptr();
  MPU_InitStruct.Size = MPU_REGION_SIZE_256B;
  MPU_InitStruct.SubRegionDisable = 0x00;
  MPU_InitStruct.TypeExtField = MPU_TEX_LEVEL0;
  MPU_InitStruct.AccessPermission = MPU_REGION_FULL_ACCESS;
  MPU_InitStruct.DisableExec = MPU_INSTRUCTION_ACCESS_ENABLE;
  MPU_InitStruct.IsShareable = MPU_ACCESS_SHAREABLE;
  MPU_InitStruct.IsCacheable = MPU_ACCESS_NOT_CACHEABLE;
  MPU_InitStruct.IsBufferable = MPU_ACCESS_NOT_BUFFERABLE;

  HAL_MPU_ConfigRegion(&MPU_InitStruct);

  /** Initializes and configures the Region and the memory to be protected
   */
  MPU_InitStruct.Number = MPU_REGION_NUMBER1;
  MPU_InitStruct.BaseAddress = (uint32_t)&ws2812_dma_buffer;
  MPU_InitStruct.Size = MPU_REGION_SIZE_256B;
  MPU_InitStruct.SubRegionDisable = 0x0;
  MPU_InitStruct.TypeExtField = MPU_TEX_LEVEL0;
  MPU_InitStruct.AccessPermission = MPU_REGION_FULL_ACCESS;
  MPU_InitStruct.DisableExec = MPU_INSTRUCTION_ACCESS_ENABLE;
  MPU_InitStruct.IsShareable = MPU_ACCESS_SHAREABLE;
  MPU_InitStruct.IsCacheable = MPU_ACCESS_NOT_CACHEABLE;
  MPU_InitStruct.IsBufferable = MPU_ACCESS_NOT_BUFFERABLE;

  HAL_MPU_ConfigRegion(&MPU_InitStruct);
  /* Enables the MPU */
  HAL_MPU_Enable(MPU_PRIVILEGED_DEFAULT);
}

void Error_Handler(void) {
  __disable_irq();
  while (1) {
  }
}
#ifdef USE_FULL_ASSERT
/**
 * @brief  Reports the name of the source file and the source line number
 *         where the assert_param error has occurred.
 * @param  file: pointer to the source file name
 * @param  line: assert_param error line source number
 * @retval None
 */
void assert_failed(uint8_t *file, uint32_t line) {
  /* USER CODE BEGIN 6 */
  /* User can add his own implementation to report the file name and line
     number, ex: printf("Wrong parameters value: file %s on line %d\r\n", file,
     line) */
  /* USER CODE END 6 */
}
#endif /* USE_FULL_ASSERT */
